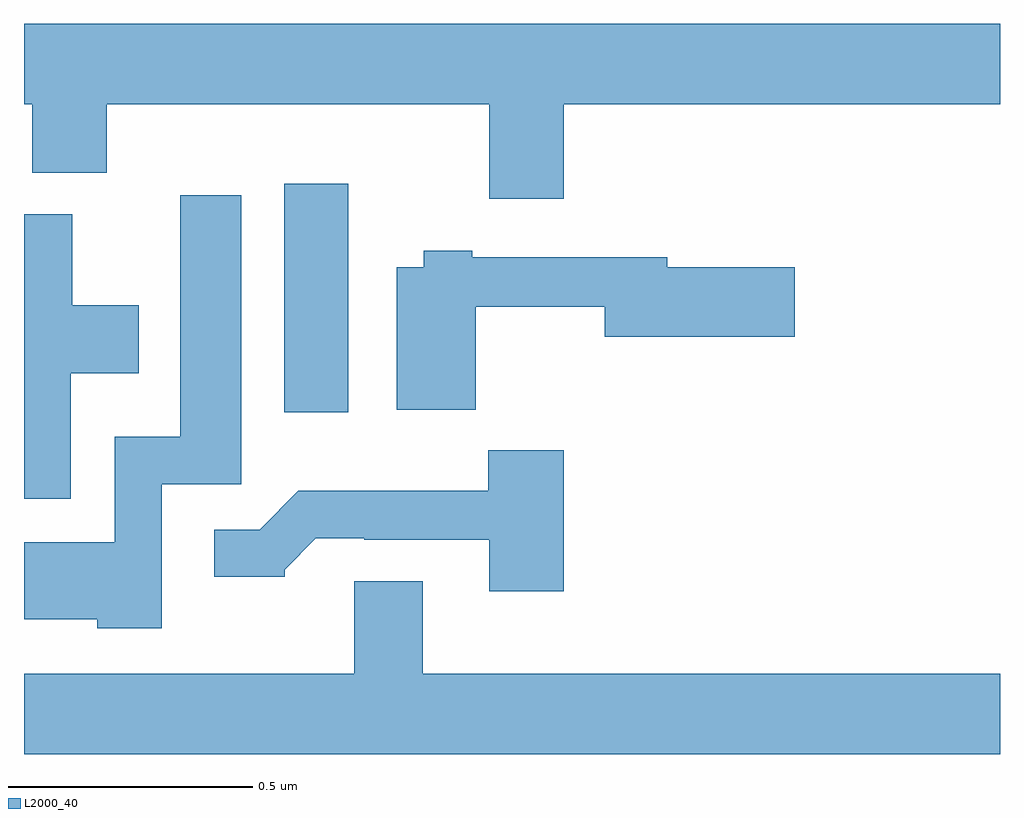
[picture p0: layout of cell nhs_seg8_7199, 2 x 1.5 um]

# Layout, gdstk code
import gdstk
lib = gdstk.Library(unit=1e-6, precision=1e-09)
def R(c, l, rs):  # rectangles x0, y0, x1, y1
    for r in rs: c.add(gdstk.rectangle(r[:2], r[2:], *l))
def P(c, l, *ps):  # polygons
    for p in ps: c.add(gdstk.Polygon(p, *l))
L2000_40 = (2000, 40)

nhs_seg8_7199 = lib.new_cell('nhs_seg8_7199')
R(nhs_seg8_7199, L2000_40, [(207.533,1087.896,207.664,1088.365)])
P(nhs_seg8_7199, L2000_40, [(208.106,1088.528),(209,1088.528),(209,1088.692),(207,1088.692),(207,1088.528),(207.017,1088.528),(207.017,1088.387),(207.17,1088.387),(207.17,1088.528),(207.953,1088.528),(207.953,1088.334),(208.106,1088.334)],
  [(207.282,1087.749),(207.445,1087.749),(207.445,1088.341),(207.32,1088.341),(207.32,1087.846),(207.186,1087.846),(207.186,1087.63),(207,1087.63),(207,1087.472),(207.15,1087.472),(207.15,1087.454),(207.282,1087.454)],
  [(207.096,1087.976),(207.235,1087.976),(207.235,1088.116),(207.099,1088.116),(207.099,1088.302),(207,1088.302),(207,1087.719),(207.096,1087.719)],
  [(207.926,1088.113),(208.19,1088.113),(208.19,1088.051),(208.579,1088.051),(208.579,1088.193),(208.318,1088.193),(208.318,1088.214),(207.919,1088.214),(207.919,1088.227),(207.819,1088.227),(207.819,1088.194),(207.764,1088.194),(207.764,1087.901),(207.926,1087.901)],
  [(208.106,1087.819),(207.951,1087.819),(207.951,1087.735),(207.562,1087.735),(207.483,1087.656),(207.39,1087.656),(207.39,1087.559),(207.534,1087.559),(207.534,1087.574),(207.598,1087.638),(207.697,1087.638),(207.697,1087.635),(207.953,1087.635),(207.953,1087.53),(208.106,1087.53)],
  [(209,1087.36),(207.817,1087.36),(207.817,1087.55),(207.677,1087.55),(207.677,1087.36),(207,1087.36),(207,1087.196),(209,1087.196)])

lib.write_gds('nhs_seg8_7199.gds')
